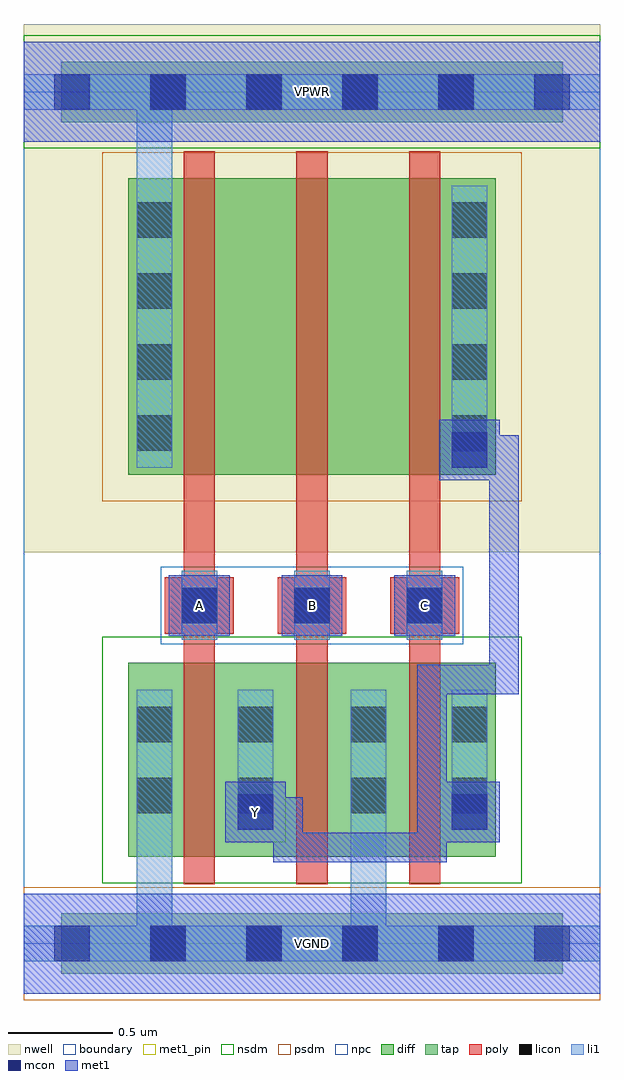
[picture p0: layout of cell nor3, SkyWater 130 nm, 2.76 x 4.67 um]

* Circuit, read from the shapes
.subckt nor3 A B C VGND VPWR Y
XM1 Y A VGND VGND sky130_fd_pr__nfet_01v8 w=0.93 l=0.15
XM2 VGND B Y VGND sky130_fd_pr__nfet_01v8 w=0.93 l=0.15
XM3 Y C VGND VGND sky130_fd_pr__nfet_01v8 w=0.93 l=0.15
XM4 n1 A VPWR VPWR sky130_fd_pr__pfet_01v8 w=1.42 l=0.15
XM5 n2 B n1 VPWR sky130_fd_pr__pfet_01v8 w=1.42 l=0.15
XM6 Y C n2 VPWR sky130_fd_pr__pfet_01v8 w=1.42 l=0.15
.ends

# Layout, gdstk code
import gdstk
lib = gdstk.Library(unit=1e-6, precision=1e-09)
def R(c, l, rs):  # rectangles x0, y0, x1, y1
    for r in rs: c.add(gdstk.rectangle(r[:2], r[2:], *l))
def A(c, l, x, y, w, h, nx, ny, dx, dy):  # array of equal rectangles
    R(c, l, [(x+i*dx, y+j*dy, x+i*dx+w, y+j*dy+h) for i in range(nx) for j in range(ny)])
nwell = (64, 20)
diff = (65, 20)
tap = (65, 44)
poly = (66, 20)
licon = (66, 44)
li1 = (67, 20)
mcon = (67, 44)
met1_pin = (68, 16)
met1 = (68, 20)
nsdm = (93, 44)
psdm = (94, 20)
npc = (95, 20)
boundary = (235, 4)

nor3 = lib.new_cell('nor3')
R(nor3, nwell, [(0,1.875,2.76,4.405)])
R(nor3, diff, [(0.5,0.415,2.26,1.345), (0.5,2.245,2.26,3.665)])
R(nor3, tap, [(0.18,-0.145,2.58,0.145), (0.18,3.935,2.58,4.225)])
A(nor3, poly, 0.765, 0.285, 0.15, 3.51, 3, 1, 0.54, 0)
A(nor3, poly, 0.675, 1.485, 0.33, 0.27, 3, 1, 0.54, 0)
A(nor3, licon, 0.605, -0.085, 0.17, 0.17, 4, 2, 0.46, 4.08)
A(nor3, licon, 0.755, 1.535, 0.17, 0.17, 3, 1, 0.54, 0)
A(nor3, licon, 0.54, 2.36, 0.17, 0.17, 1, 4, 0, 0.34)
A(nor3, licon, 2.05, 2.36, 0.17, 0.17, 1, 4, 0, 0.34)
R(nor3, licon, [(0.54,0.625,0.71,0.795), (1.025,0.625,1.195,0.795), (1.565,0.625,1.735,0.795), (2.05,0.625,2.22,0.795), (0.54,0.965,0.71,1.135), (1.025,0.965,1.195,1.135), (1.565,0.965,1.735,1.135), (2.05,0.965,2.22,1.135)])
A(nor3, li1, 0.755, 1.455, 0.17, 0.33, 3, 1, 0.54, 0)
R(nor3, li1, [(0,-0.085,2.76,0.085), (0.54,-0.085,0.71,1.215), (1.565,-0.085,1.735,1.215), (0.54,0.545,0.71,1.215), (1.025,0.545,1.195,1.215), (1.565,0.545,1.735,1.215), (2.05,0.545,2.22,1.215), (0.54,2.28,0.71,3.63), (0.54,2.28,0.71,4.165), (2.05,2.28,2.22,3.63), (0,3.995,2.76,4.165)])
A(nor3, mcon, 0.145, -0.085, 0.17, 0.17, 6, 2, 0.46, 4.08)
A(nor3, mcon, 0.755, 1.535, 0.17, 0.17, 3, 1, 0.54, 0)
R(nor3, mcon, [(1.025,0.545,1.195,0.715), (2.05,0.545,2.22,0.715), (2.05,2.28,2.22,2.45)])
A(nor3, met1_pin, 0.695, 1.475, 0.29, 0.29, 3, 1, 0.54, 0)
R(nor3, met1_pin, [(0,-0.24,2.76,0.24), (0.965,0.485,1.255,0.775), (0,3.84,2.76,4.32)])
A(nor3, met1, 0.695, 1.475, 0.29, 0.29, 3, 1, 0.54, 0)
R(nor3, met1, [(0,-0.24,2.76,0.24), (1.195,0.39,1.335,0.7), (1.195,0.39,2.025,0.53), (1.885,0.39,2.025,0.7), (1.885,0.39,2.025,1.335), (0.965,0.485,1.255,0.775), (1.99,0.485,2.28,0.775), (1.04,0.56,1.335,0.7), (1.885,0.56,2.205,0.7), (1.885,1.195,2.37,1.335), (2.23,1.195,2.37,2.255), (2.23,2.115,2.37,2.435), (1.99,2.22,2.28,2.51), (2.065,2.295,2.37,2.435), (0,3.84,2.76,4.32)])
R(nor3, nsdm, [(0.375,0.29,2.385,1.47), (0,3.81,2.76,4.35)])
R(nor3, psdm, [(0,-0.27,2.76,0.27), (0.375,2.12,2.385,3.79)])
R(nor3, npc, [(0.655,1.435,2.105,1.805)])
R(nor3, boundary, [(0,0,2.76,4.08)])
nor3.add(gdstk.Label('A', (0.84,1.62), layer=68, texttype=5))
nor3.add(gdstk.Label('B', (1.38,1.62), layer=68, texttype=5))
nor3.add(gdstk.Label('C', (1.92,1.62), layer=68, texttype=5))
nor3.add(gdstk.Label('Y', (1.11,0.63), layer=68, texttype=5))
nor3.add(gdstk.Label('VPWR', (1.38,4.08), layer=68, texttype=5))
nor3.add(gdstk.Label('VGND', (1.38,0), layer=68, texttype=5))
nor3.add(gdstk.Label('A', (0.84,1.62), layer=68, texttype=16))
nor3.add(gdstk.Label('B', (1.38,1.62), layer=68, texttype=16))
nor3.add(gdstk.Label('C', (1.92,1.62), layer=68, texttype=16))
nor3.add(gdstk.Label('Y', (1.11,0.63), layer=68, texttype=16))
nor3.add(gdstk.Label('VPWR', (1.38,4.08), layer=68, texttype=16))
nor3.add(gdstk.Label('VGND', (1.38,0), layer=68, texttype=16))

lib.write_gds('nor3.gds')
